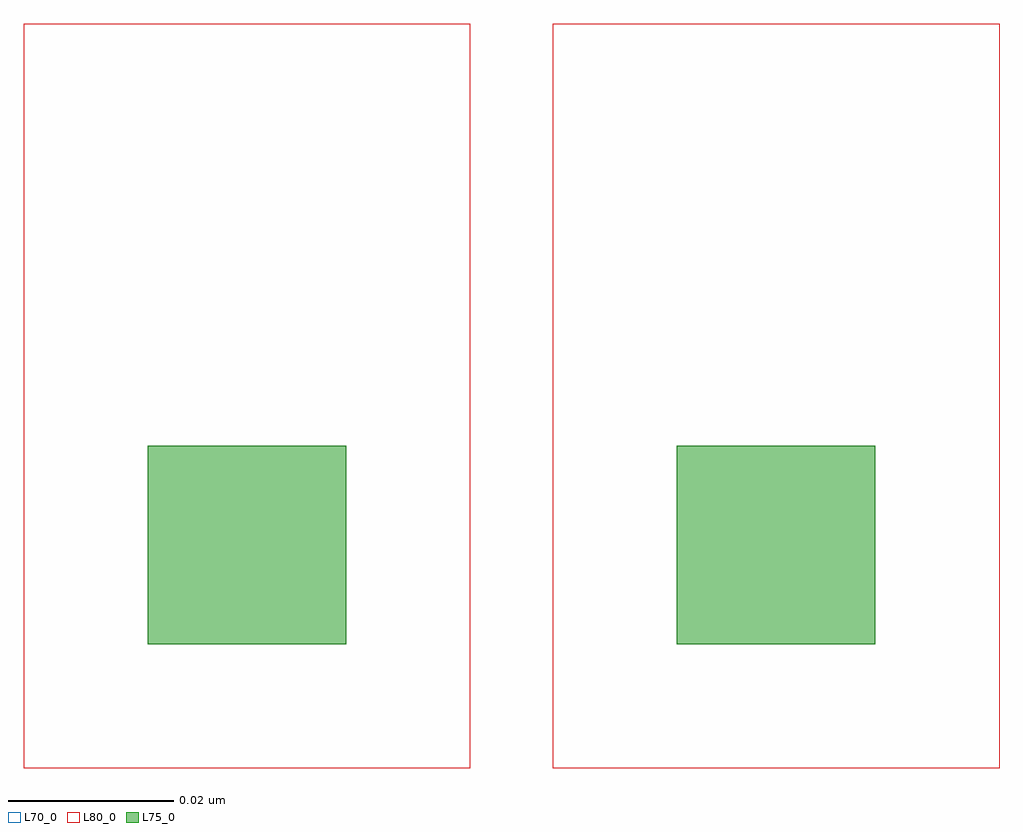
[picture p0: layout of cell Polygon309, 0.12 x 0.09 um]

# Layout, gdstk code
import gdstk
lib = gdstk.Library(unit=1e-6, precision=2.5e-10)
def R(c, l, rs):  # rectangles x0, y0, x1, y1
    for r in rs: c.add(gdstk.rectangle(r[:2], r[2:], *l))
L70_0 = (70, 0)
L75_0 = (75, 0)
L80_0 = (80, 0)

polygon309 = lib.new_cell('Polygon309')
R(polygon309, L70_0, [(-0.015,-0.015,0.039,0.075), (0.049,-0.015,0.103,0.075)])
R(polygon309, L75_0, [(0,0,0.024,0.024), (0.064,0,0.088,0.024)])
R(polygon309, L80_0, [(-0.015,-0.015,0.039,0.075), (0.049,-0.015,0.103,0.075)])

lib.write_gds('Polygon309.gds')
